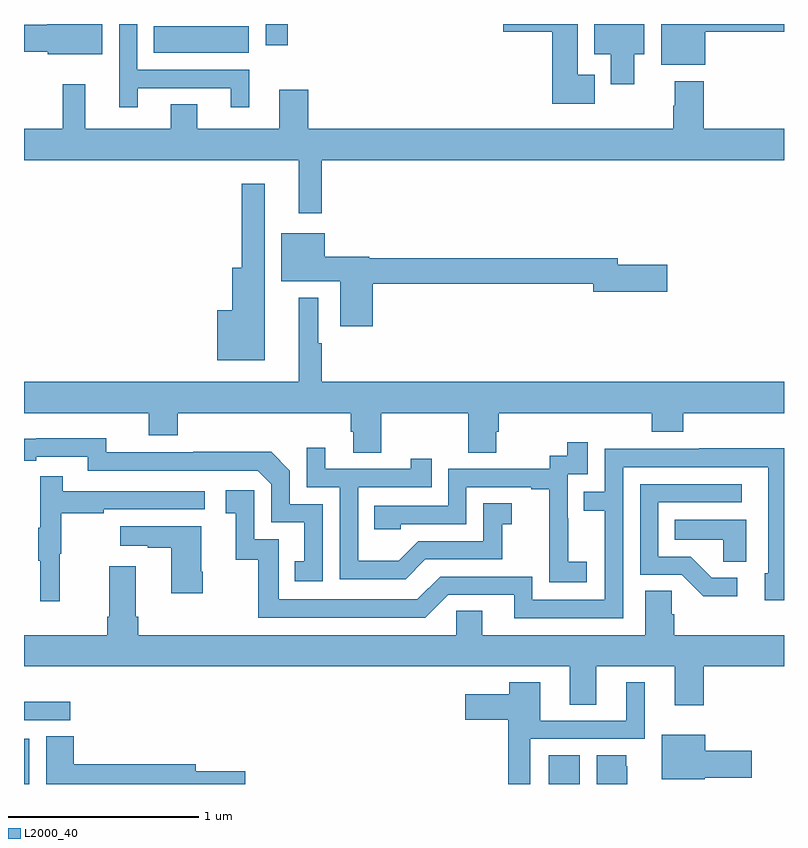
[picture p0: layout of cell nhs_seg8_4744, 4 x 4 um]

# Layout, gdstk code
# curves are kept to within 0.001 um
import gdstk
lib = gdstk.Library(unit=1e-6, precision=1e-09)
def R(c, l, rs):  # rectangles x0, y0, x1, y1
    for r in rs: c.add(gdstk.rectangle(r[:2], r[2:], *l))
def P(c, l, *ps):  # polygons
    for p in ps: c.add(gdstk.Polygon(p, *l))
L2000_40 = (2000, 40)

nhs_seg8_4744 = lib.new_cell('nhs_seg8_4744')
R(nhs_seg8_4744, L2000_40, [(399,1095.9,399.028,1096.138), (401.762,1095.9,401.926,1096.052), (399,1096.236,399.244,1096.332), (399.682,1099.748,400.183,1099.888), (400.272,1099.788,400.388,1099.9)])
P(nhs_seg8_4744, L2000_40, [(402.004,1099.633),(401.914,1099.633),(401.914,1099.9),(401.523,1099.9),(401.523,1099.859),(401.78,1099.859),(401.78,1099.481),(402.004,1099.481)],
  [(402.586,1099.859),(403,1099.859),(403,1099.9),(402.353,1099.9),(402.353,1099.685),(402.586,1099.685)],
  [(399.598,1099.563),(400.088,1099.563),(400.088,1099.461),(400.186,1099.461),(400.186,1099.659),(399.597,1099.659),(399.597,1099.9),(399.501,1099.9),(399.501,1099.461),(399.598,1099.461)],
  [(402.211,1099.742),(402.265,1099.742),(402.265,1099.9),(402.002,1099.9),(402.002,1099.742),(402.089,1099.742),(402.089,1099.584),(402.211,1099.584)],
  [(399.411,1099.9),(399.122,1099.9),(399.122,1099.895),(399,1099.895),(399,1099.753),(399.126,1099.753),(399.126,1099.742),(399.411,1099.742)],
  [(400.567,1099.184),(403,1099.184),(403,1099.348),(402.578,1099.348),(402.578,1099.6),(402.425,1099.6),(402.425,1099.469),(402.418,1099.469),(402.418,1099.348),(400.496,1099.348),(400.496,1099.555),(400.343,1099.555),(400.343,1099.348),(399.913,1099.348),(399.913,1099.478),(399.773,1099.478),(399.773,1099.348),(399.323,1099.348),(399.323,1099.582),(399.205,1099.582),(399.205,1099.348),(399,1099.348),(399,1099.184),(400.445,1099.184),(400.445,1098.903),(400.567,1098.903)],
  [(400.267,1099.06),(400.146,1099.06),(400.146,1098.616),(400.097,1098.616),(400.097,1098.394),(400.016,1098.394),(400.016,1098.131),(400.267,1098.131)],
  [(400.835,1098.532),(401.996,1098.532),(401.996,1098.49),(402.385,1098.49),(402.385,1098.632),(402.124,1098.632),(402.124,1098.668),(400.818,1098.668),(400.818,1098.676),(400.582,1098.676),(400.582,1098.799),(400.355,1098.799),(400.355,1098.545),(400.664,1098.545),(400.664,1098.309),(400.835,1098.309)],
  [(400.881,1097.852),(401.338,1097.852),(401.338,1097.644),(401.485,1097.644),(401.485,1097.754),(401.498,1097.754),(401.498,1097.852),(402.305,1097.852),(402.305,1097.753),(402.47,1097.753),(402.47,1097.852),(403,1097.852),(403,1098.016),(400.567,1098.016),(400.567,1098.221),(400.549,1098.221),(400.549,1098.46),(400.445,1098.46),(400.445,1098.016),(399,1098.016),(399,1097.852),(399.656,1097.852),(399.656,1097.735),(399.809,1097.735),(399.809,1097.852),(400.721,1097.852),(400.721,1097.754),(400.733,1097.754),(400.733,1097.644),(400.881,1097.644)],
  [(400.572,1097.373),(400.398,1097.373),(400.398,1097.55),(400.3,1097.648),(399.892,1097.648),(399.892,1097.646),(399.432,1097.646),(399.432,1097.719),(399,1097.718),(399,1097.602),(399.064,1097.602),(399.064,1097.622),(399.336,1097.622),(399.336,1097.55),(400.23,1097.55),(400.302,1097.478),(400.302,1097.277),(400.475,1097.277),(400.475,1097.073),(400.426,1097.073),(400.426,1096.968),(400.572,1096.968)],
  [(401.962,1097.071),(401.864,1097.071),(401.864,1097.3),(401.862,1097.3),(401.862,1097.529),(401.967,1097.529),(401.967,1097.698),(401.859,1097.698),(401.859,1097.628),(401.766,1097.628),(401.766,1097.559),(401.232,1097.559),(401.232,1097.364),(400.843,1097.364),(400.843,1097.241),(400.983,1097.241),(400.983,1097.268),(401.328,1097.268),(401.328,1097.463),(401.669,1097.463),(401.669,1097.451),(401.765,1097.451),(401.765,1097.167),(401.764,1097.167),(401.764,1096.961),(401.962,1096.961)],
  [(401.113,1097.082),(401.517,1097.082),(401.517,1097.267),(401.566,1097.267),(401.566,1097.377),(401.418,1097.377),(401.418,1097.178),(401.076,1097.178),(400.972,1097.074),(400.758,1097.074),(400.758,1097.463),(401.147,1097.463),(401.147,1097.611),(401.036,1097.611),(401.036,1097.559),(400.585,1097.559),(400.585,1097.671),(400.488,1097.671),(400.488,1097.463),(400.662,1097.463),(400.662,1096.977),(401.008,1096.977)],
  [(402.153,1097.568),(402.918,1097.568),(402.918,1097.01),(402.899,1097.01),(402.899,1096.866),(403,1096.866),(403,1097.666),(402.553,1097.666),(402.553,1097.664),(402.057,1097.664),(402.057,1097.439),(401.947,1097.439),(401.947,1097.338),(402.057,1097.338),(402.057,1096.869),(401.676,1096.869),(401.676,1096.992),(401.19,1096.992),(401.07,1096.872),(400.341,1096.872),(400.341,1097.187),(400.212,1097.187),(400.212,1097.446),(400.062,1097.446),(400.062,1097.325),(400.115,1097.325),(400.115,1097.079),(400.233,1097.079),(400.233,1096.776),(401.112,1096.776),(401.232,1096.896),(401.579,1096.896),(401.579,1096.773),(402.153,1096.773)],
  [(399.188,1097.112),(399.196,1097.112),(399.196,1097.326),(399.419,1097.326),(399.419,1097.346),(399.952,1097.346),(399.952,1097.442),(399.203,1097.442),(399.203,1097.521),(399.086,1097.521),(399.086,1097.249),(399.075,1097.249),(399.075,1097.075),(399.086,1097.075),(399.086,1096.863),(399.188,1096.863)],
  [(402.754,1096.986),(402.619,1096.986),(402.508,1097.097),(402.339,1097.097),(402.339,1097.382),(402.778,1097.382),(402.778,1097.478),(402.243,1097.478),(402.243,1097.001),(402.462,1097.001),(402.575,1096.889),(402.754,1096.889)],
  [(402.802,1097.29),(402.424,1097.29),(402.424,1097.186),(402.681,1097.186),(402.681,1097.071),(402.802,1097.071)],
  [(399.942,1097.017),(399.934,1097.017),(399.934,1097.257),(399.507,1097.257),(399.507,1097.153),(399.65,1097.153),(399.65,1097.143),(399.776,1097.143),(399.776,1096.905),(399.942,1096.905)],
  [(402.578,1096.52),(403,1096.52),(403,1096.684),(402.422,1096.684),(402.422,1096.793),(402.408,1096.793),(402.408,1096.916),(402.269,1096.916),(402.269,1096.684),(401.413,1096.684),(401.413,1096.811),(401.274,1096.811),(401.274,1096.684),(399.602,1096.684),(399.602,1096.78),(399.589,1096.78),(399.589,1097.047),(399.449,1097.047),(399.449,1096.78),(399.437,1096.78),(399.437,1096.684),(399,1096.684),(399,1096.52),(401.873,1096.52),(401.873,1096.318),(402.013,1096.318),(402.013,1096.52),(402.425,1096.52),(402.425,1096.314),(402.578,1096.314)],
  [(401.664,1096.137),(402.268,1096.137),(402.268,1096.435),(402.17,1096.435),(402.17,1096.233),(401.716,1096.233),(401.716,1096.435),(401.555,1096.435),(401.555,1096.372),(401.322,1096.372),(401.322,1096.238),(401.548,1096.238),(401.548,1095.9),(401.664,1095.9)],
  [(402.582,1095.932),(402.829,1095.932),(402.829,1096.074),(402.586,1096.074),(402.586,1096.159),(402.356,1096.159),(402.356,1095.926),(402.582,1095.926)],
  [(400.165,1095.968),(399.904,1095.968),(399.904,1096.004),(399.263,1096.004),(399.263,1096.151),(399.116,1096.151),(399.116,1095.9),(400.165,1095.9)],
  [(402.175,1095.993),(402.169,1095.993),(402.169,1096.052),(402.014,1096.052),(402.014,1095.9),(402.175,1095.9)])

lib.write_gds('nhs_seg8_4744.gds')
